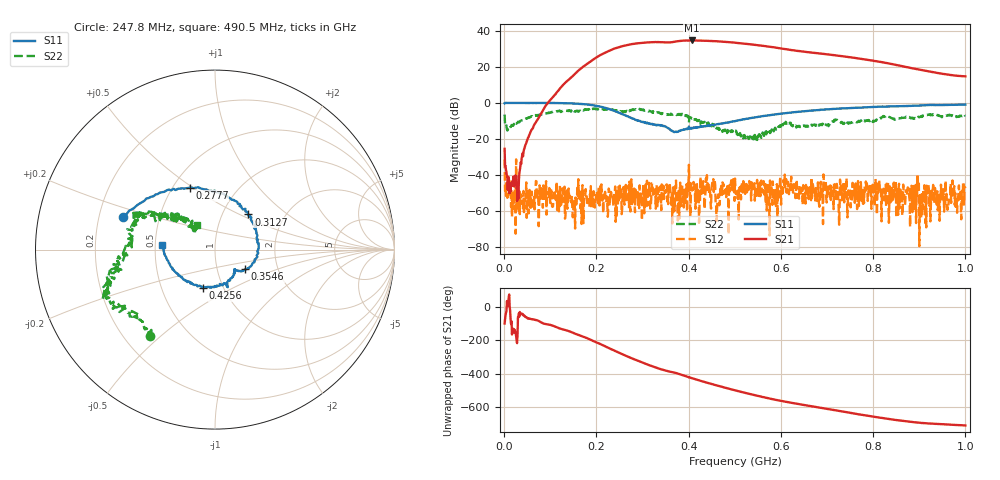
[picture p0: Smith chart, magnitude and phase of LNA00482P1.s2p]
! Created with skrf 1.9.0 (http://scikit-rf.org).
# Hz S RI R 50.0
!freq ReS11 ImS11 ReS21 ImS21 ReS12 ImS12 ReS22 ImS22
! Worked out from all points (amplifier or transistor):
!   1001 points, 1 MHz to 1 GHz, reference 50 ohm
!   highest |S21| = 34.8 dB at 406.6 MHz (marker M1)
!   |S21| within 3 dB of that: 259.5 MHz to 561 MHz (301.6 MHz wide, 73.5 % of centre)
!   unconditionally stable (mu >= 1): 226.8 MHz to 271.7 MHz; 275.9 MHz to 400 MHz; 400.9 MHz to end of sweep (the widest 3 of 47)
!   at 166.8 MHz: K = 0.69, MSG = 34.0 dB, |S12| = -48.8 dB
!   at 500.5 MHz: K = 1.41, MAG = 34.0 dB, |S12| = -42.1 dB
!   at 1 GHz: K = 2.79, MAG = 23.8 dB, |S12| = -47.4 dB
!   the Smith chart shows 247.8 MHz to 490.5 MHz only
!   S11 on the Smith chart (normalised r, x): 247.8 MHz: 0.30, +0.16; 277.7 MHz: 0.61, +0.48; 312.7 MHz: 1.32, +0.56; 354.6 MHz: 1.37, -0.31; 425.6 MHz: 0.80, -0.36; 490.5 MHz: 0.54, +0.03
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1000000  0.9787 0.000109  -0.0093 -0.0519  -0.0238 -0.0119  0.3067 0.3609
1.08892e8  0.5374 -0.8407  -0.7387 -1.452  -0.00237 -0.00219  0.4123 -0.3811
1.67833e8  -0.2055 -0.9128  -9.388 -0.7675  0.000277 0.000326  0.0171 -0.6327
2.11789e8  -0.6681 -0.3834  -15.18 16.79  -0.00189 -0.00216  -0.2005 -0.6479
2.29771e8  -0.6589 -0.0743  -9.558 27.42  0.00201 0.00178  -0.2811 -0.5757
2.47753e8  -0.512 0.1818  2.36 35.51  -0.00452 -0.000914  -0.3627 -0.4789
2.77723e8  -0.1414 0.3438  28.19 33.39  -0.00149 0.000372  -0.5541 -0.3195
3.12688e8  0.1859 0.1959  47.43 9.743  0.00137 0.00345  -0.5591 -0.1576
3.34666e8  0.2432 0.0208  48.77 -8.331  -0.00347 7.82e-07  -0.5425 -0.0448
3.54646e8  0.1687 -0.1087  43.4 -21.04  -0.00242 -0.000638  -0.4593 0.0756
3.79621e8  0.1098 -0.1235  38.59 -36.12  0.00035 0.000489  -0.431 0.194
4.06594e8  0.0339 -0.1958  21.15 -50.67  0.000771 0.00382  -0.313 0.1901
4.25575e8  -0.0657 -0.2154  6.123 -53.88  0.0026 0.00838  -0.2093 0.162
4.55545e8  -0.2044 -0.1439  -15.67 -50.01  0.00248 0.00418  -0.1767 0.1414
4.9051e8  -0.2956 0.0252  -33.53 -35.28  0.00348 0.00362  -0.0995 0.136
5.005e8  -0.2972 0.0835  -36.9 -30.3  0.00293 -0.00729  -0.1464 0.0814
5.38462e8  -0.255 0.2915  -41.17 -9.879  0.00465 0.000403  -0.1118 -0.0157
5.83417e8  -0.0813 0.4644  -34.29 9.045  0.0028 -0.000944  -0.1648 -0.0531
6.67333e8  0.3058 0.5313  -13.71 20.93  0.00194 -0.00113  -0.2328 0.00103
7.55245e8  0.6239 0.3718  2.482 18.09  0.0033 -0.00495  -0.2788 0.0569
8.34166e8  0.7822 0.1516  8.432 9.276  -0.000397 0.000233  -0.4023 0.0744
1e9  0.818 -0.3867  5.431 0.8501  -0.00174 0.00388  -0.206 0.3915
